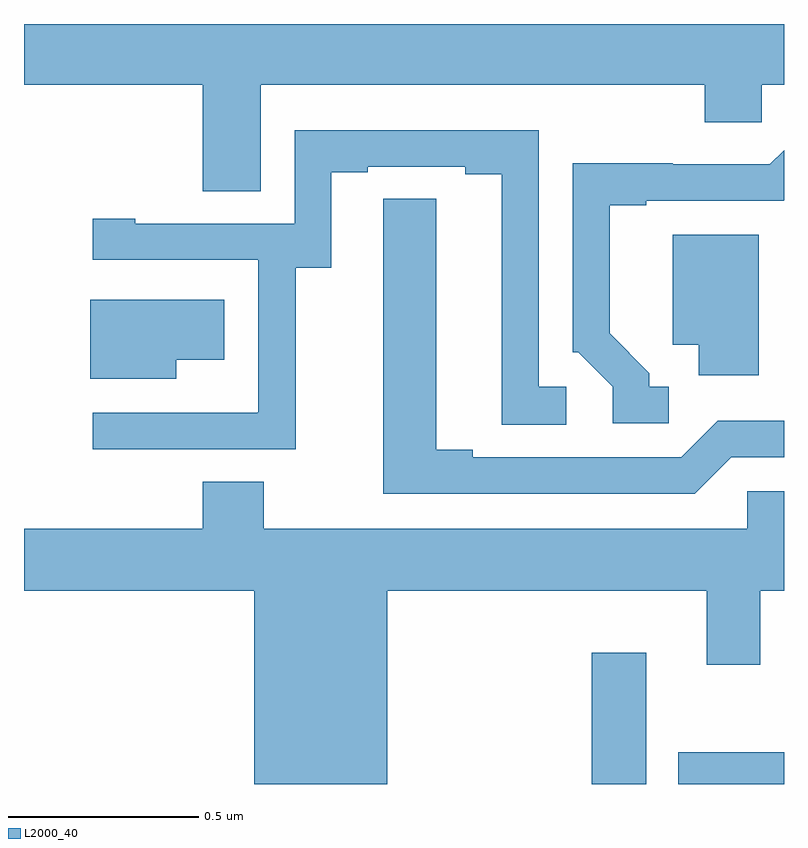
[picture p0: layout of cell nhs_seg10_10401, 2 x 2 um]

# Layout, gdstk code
import gdstk
lib = gdstk.Library(unit=1e-6, precision=1e-09)
def R(c, l, rs):  # rectangles x0, y0, x1, y1
    for r in rs: c.add(gdstk.rectangle(r[:2], r[2:], *l))
def P(c, l, *ps):  # polygons
    for p in ps: c.add(gdstk.Polygon(p, *l))
L2000_40 = (2000, 40)

nhs_seg10_10401 = lib.new_cell('nhs_seg10_10401')
R(nhs_seg10_10401, L2000_40, [(243.494,1274.5,243.637,1274.845), (243.722,1274.5,244,1274.584)])
P(nhs_seg10_10401, L2000_40, [(242.623,1276.34),(243.791,1276.34),(243.791,1276.242),(243.942,1276.242),(243.942,1276.34),(244,1276.34),(244,1276.5),(242,1276.5),(242,1276.34),(242.471,1276.34),(242.471,1276.06),(242.623,1276.06)],
  [(242.715,1275.859),(242.809,1275.859),(242.809,1276.11),(242.905,1276.11),(242.905,1276.125),(243.161,1276.125),(243.161,1276.105),(243.257,1276.105),(243.257,1275.445),(243.427,1275.445),(243.427,1275.546),(243.354,1275.546),(243.354,1276.221),(242.712,1276.221),(242.712,1275.975),(242.293,1275.975),(242.293,1275.988),(242.181,1275.988),(242.181,1275.879),(242.616,1275.879),(242.616,1275.478),(242.615,1275.478),(242.615,1275.477),(242.181,1275.477),(242.181,1275.381),(242.715,1275.381)],
  [(243.697,1275.546),(243.646,1275.546),(243.646,1275.581),(243.541,1275.686),(243.541,1276.023),(243.637,1276.023),(243.637,1276.035),(243.999,1276.035),(244,1276.036),(244,1276.168),(243.963,1276.131),(243.707,1276.131),(243.707,1276.133),(243.444,1276.133),(243.444,1275.636),(243.459,1275.636),(243.549,1275.546),(243.549,1275.45),(243.697,1275.45)],
  [(243.861,1275.36),(244,1275.36),(244,1275.456),(243.825,1275.456),(243.729,1275.36),(243.181,1275.36),(243.181,1275.38),(243.085,1275.38),(243.085,1276.04),(242.946,1276.04),(242.946,1275.932),(242.945,1275.932),(242.945,1275.264),(243.765,1275.264)],
  [(243.934,1275.946),(243.707,1275.946),(243.707,1275.656),(243.776,1275.656),(243.776,1275.576),(243.934,1275.576)],
  [(242.401,1275.617),(242.527,1275.617),(242.527,1275.775),(242.174,1275.775),(242.174,1275.566),(242.401,1275.566)],
  [(242.956,1275.008),(243.797,1275.008),(243.797,1274.814),(243.937,1274.814),(243.937,1275.008),(244,1275.008),(244,1275.27),(243.903,1275.27),(243.903,1275.172),(242.631,1275.172),(242.631,1275.296),(242.471,1275.296),(242.471,1275.172),(242,1275.172),(242,1275.008),(242.606,1275.008),(242.606,1274.5),(242.956,1274.5)])

lib.write_gds('nhs_seg10_10401.gds')
